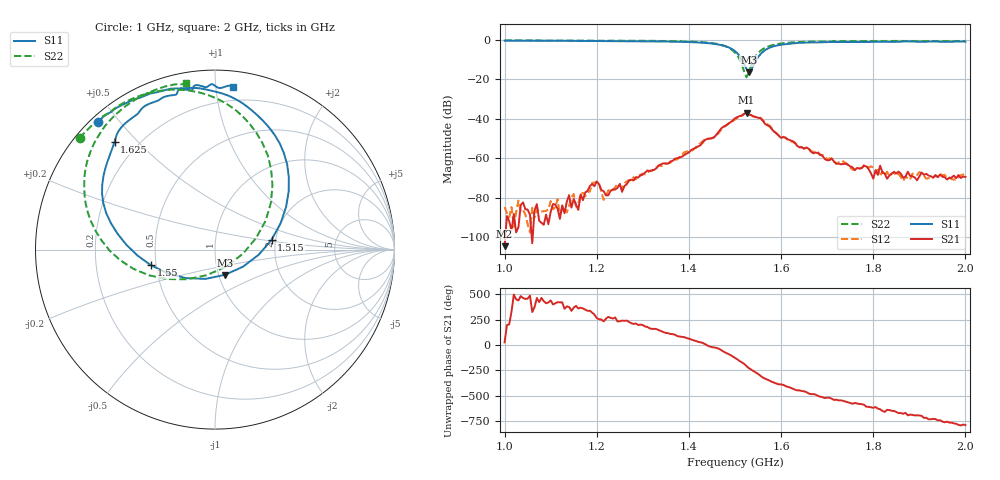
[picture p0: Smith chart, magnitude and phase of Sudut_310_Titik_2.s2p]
# Hz S RI R 50
! CMT, C1220, 16058040, 17.2.0/1
! Date: 14/08/2018 12:49:43
! Data: Format (Calibration Info)
! Freq  S11: Re/Im (F2)  S21: Re/Im (F2)  S12: Re/Im (F2)  S22: Re/Im (F2)
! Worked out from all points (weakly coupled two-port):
!   201 points, 1 GHz to 2 GHz, reference 50 ohm
!   highest |S21| = -36.91 dB at 1.525 GHz (marker M1); lowest = -104.6 dB at 1 GHz (marker M2)
!   lowest |S11| = -16.4 dB at 1.53 GHz (marker M3), VSWR 1.36, Z = 53.6 - j15.4 ohm
!   |S11| at or under -10 dB: 1.515 GHz to 1.547 GHz (31.3 MHz wide, 2.04 % of centre)
!   |S22| runs from -18.9 to -0.2 dB; largest |S21 - S12| = 0.00066
!   S11 on the Smith chart (normalised r, x): 1 GHz: 0.02, +0.44; 1.515 GHz: 1.90, +0.23; 1.55 GHz: 0.47, -0.09; 1.625 GHz: 0.12, +0.43; 2 GHz: 0.10, +1.11
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1e9  -0.6519 0.7128  5.29e-06 2.54e-06  -5.49e-05 1.91e-05  -0.7537 0.6217
1.17e9  -0.4817 0.8231  8.61e-05 -8.88e-07  0.000132 -1.24e-05  -0.6181 0.7469
1.2e9  -0.4399 0.8394  -2.14e-05 -0.000258  4.55e-05 -0.00025  -0.5848 0.7602
1.215e9  -0.4247 0.8443  -8.93e-05 -0.000115  -8.76e-06 -8.76e-05  -0.5779 0.7687
1.25e9  -0.3648 0.8679  -0.000134 -0.00018  -8.29e-05 -0.000179  -0.5386 0.8002
1.255e9  -0.3578 0.87  -7.09e-05 -0.000122  -0.0001 -0.000139  -0.5319 0.8041
1.335e9  -0.2206 0.8974  -0.000544 0.000381  -0.000537 0.000377  -0.4036 0.8617
1.45e9  0.182 0.7942  0.00299 -0.00115  0.00294 -0.00138  0.0177 0.8371
1.5e9  0.4107 0.3256  -0.00593 -0.00839  -0.00558 -0.00785  0.32 0.3581
1.515e9  0.3154 0.0548  -0.012 -0.0019  -0.012 -0.00224  0.228 0.0633
1.525e9  0.1561 -0.0952  -0.0126 0.00666  -0.0128 0.00663  0.0617 -0.0951
1.53e9  0.0553 -0.1407  -0.00867 0.00943  -0.00871 0.00945  -0.0451 -0.1423
1.55e9  -0.3571 -0.0873  0.00245 0.0103  0.002 0.0104  -0.4549 -0.107
1.58e9  -0.6225 0.259  0.00546 -0.000261  0.00565 -0.000525  -0.7093 0.2098
1.625e9  -0.5598 0.6013  0.000993 -0.00253  0.00104 -0.00236  -0.7033 0.5186
1.67e9  -0.4467 0.7443  -0.000722 -0.00112  -0.000802 -0.0012  -0.6271 0.6688
1.755e9  -0.281 0.8516  -0.000465 0.00036  -0.000449 0.00025  -0.4926 0.8028
1.785e9  -0.2151 0.8648  -0.000243 0.000571  -0.000324 0.000562  -0.4498 0.8315
1.8e9  -0.208 0.8816  -6.68e-05 0.000296  -0.000138 0.000559  -0.4289 0.8442
1.815e9  -0.1856 0.8929  2.2e-05 0.000649  -0.000136 0.000323  -0.4084 0.8558
1.835e9  -0.1377 0.8869  6.47e-05 0.000359  0.000115 0.000329  -0.3816 0.8694
2e9  0.1005 0.9069  0.000131 -0.000308  0.000194 -0.000407  -0.1592 0.9302
